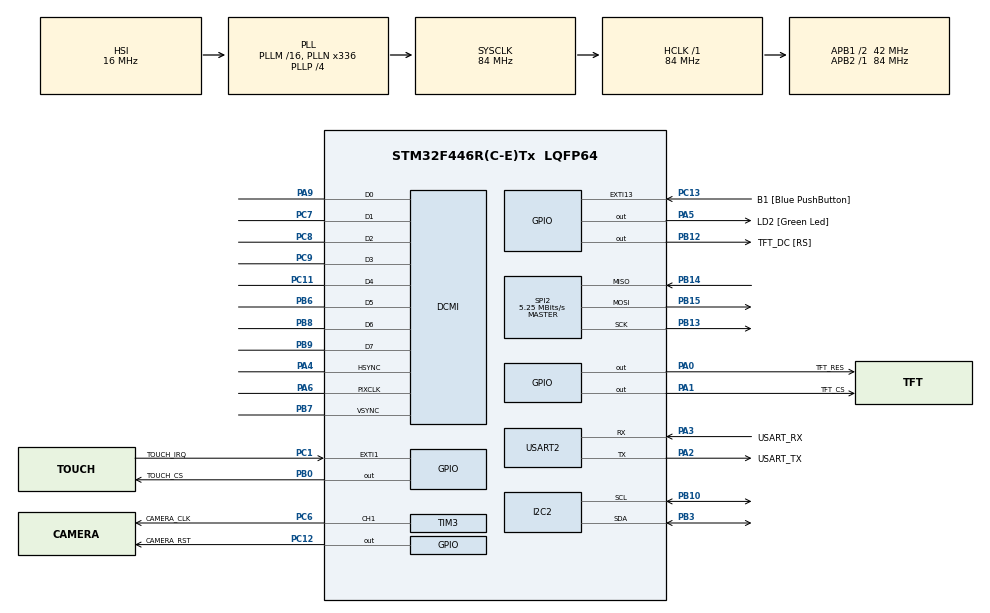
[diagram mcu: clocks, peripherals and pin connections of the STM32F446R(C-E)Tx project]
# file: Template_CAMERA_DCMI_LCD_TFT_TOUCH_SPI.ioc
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DCMI.HSPolarity=DCMI_HSPOLARITY_LOW
DCMI.JPEGMode=DCMI_JPEG_DISABLE
DCMI.PCKPolarity=DCMI_PCKPOLARITY_RISING
DCMI.VSPolarity=DCMI_VSPOLARITY_HIGH
Dma.DCMI.0.Direction=DMA_PERIPH_TO_MEMORY
Dma.DCMI.0.FIFOMode=DMA_FIFOMODE_DISABLE
Dma.DCMI.0.Instance=DMA2_Stream1
Dma.DCMI.0.MemDataAlignment=DMA_MDATAALIGN_WORD
Dma.DCMI.0.MemInc=DMA_MINC_ENABLE
Dma.DCMI.0.Mode=DMA_CIRCULAR
Dma.DCMI.0.PeriphDataAlignment=DMA_PDATAALIGN_WORD
Dma.DCMI.0.PeriphInc=DMA_PINC_DISABLE
Dma.DCMI.0.Priority=DMA_PRIORITY_LOW
Dma.Request0=DCMI
I2C2.I2C_Mode=I2C_Fast
Mcu.Family=STM32F4
Mcu.Name=STM32F446R(C-E)Tx
Mcu.Package=LQFP64
NVIC.DCMI_IRQn=true\:0\:0\:false\:false\:true\:true\:true\:true
NVIC.DMA2_Stream1_IRQn=true\:0\:0\:false\:false\:true\:false\:true\:true
NVIC.PriorityGroup=NVIC_PRIORITYGROUP_0
PA0-WKUP.GPIO_Label=TFT_RES
PA0-WKUP.PinState=GPIO_PIN_RESET
PA0-WKUP.Signal=GPIO_Output
PA1.GPIO_Label=TFT_CS
PA1.GPIO_Speed=GPIO_SPEED_FREQ_HIGH
PA1.PinState=GPIO_PIN_SET
PA1.Signal=GPIO_Output
PA13.GPIO_Label=TMS
PA13.Mode=Serial_Wire
PA13.Signal=SYS_JTMS-SWDIO
PA14.GPIO_Label=TCK
PA14.Mode=Serial_Wire
PA14.Signal=SYS_JTCK-SWCLK
PA2.GPIO_Label=USART_TX
PA2.Mode=Asynchronous
PA2.Signal=USART2_TX
PA3.GPIO_Label=USART_RX
PA3.Mode=Asynchronous
PA3.Signal=USART2_RX
PA4.GPIO_PuPd=GPIO_NOPULL
PA4.Mode=Slave_8_bits_External_Synchro
PA4.Signal=DCMI_HSYNC
PA5.GPIO_Label=LD2 [Green Led]
PA5.Signal=GPIO_Output
PA6.GPIO_Mode=GPIO_MODE_AF_PP
PA6.GPIO_PuPd=GPIO_PULLDOWN
PA6.GPIO_Speed=GPIO_SPEED_FREQ_VERY_HIGH
PA6.Mode=Slave_8_bits_External_Synchro
PA6.Signal=DCMI_PIXCLK
PA9.GPIO_Mode=GPIO_MODE_AF_PP
PA9.GPIO_PuPd=GPIO_PULLDOWN
PA9.GPIO_Speed=GPIO_SPEED_FREQ_VERY_HIGH
PA9.Mode=Slave_8_bits_External_Synchro
PA9.Signal=DCMI_D0
PB0.GPIO_Label=TOUCH_CS
PB0.GPIO_Speed=GPIO_SPEED_FREQ_HIGH
PB0.PinState=GPIO_PIN_SET
PB0.Signal=GPIO_Output
PB10.GPIO_Pu=GPIO_PULLUP
PB10.Mode=I2C
PB10.Signal=I2C2_SCL
PB12.GPIO_Label=TFT_DC [RS]
PB12.PinState=GPIO_PIN_SET
PB12.Signal=GPIO_Output
PB13.Mode=Full_Duplex_Master
PB13.Signal=SPI2_SCK
PB14.Mode=Full_Duplex_Master
PB14.Signal=SPI2_MISO
PB15.Mode=Full_Duplex_Master
PB15.Signal=SPI2_MOSI
PB3.GPIO_Pu=GPIO_PULLUP
PB3.Mode=I2C
PB3.Signal=I2C2_SDA
PB6.GPIO_Mode=GPIO_MODE_AF_PP
PB6.GPIO_PuPd=GPIO_PULLDOWN
PB6.GPIO_Speed=GPIO_SPEED_FREQ_VERY_HIGH
PB6.Mode=Slave_8_bits_External_Synchro
PB6.Signal=DCMI_D5
PB7.GPIO_PuPd=GPIO_NOPULL
PB7.Mode=Slave_8_bits_External_Synchro
PB7.Signal=DCMI_VSYNC
PB8.GPIO_Mode=GPIO_MODE_AF_PP
PB8.GPIO_PuPd=GPIO_PULLDOWN
PB8.GPIO_Speed=GPIO_SPEED_FREQ_VERY_HIGH
PB8.Mode=Slave_8_bits_External_Synchro
PB8.Signal=DCMI_D6
PB9.GPIO_Mode=GPIO_MODE_AF_PP
PB9.GPIO_PuPd=GPIO_PULLDOWN
PB9.GPIO_Speed=GPIO_SPEED_FREQ_VERY_HIGH
PB9.Mode=Slave_8_bits_External_Synchro
PB9.Signal=DCMI_D7
PC1.GPIO_Label=TOUCH_IRQ
PC1.Signal=GPXTI1
PC11.GPIO_Mode=GPIO_MODE_AF_PP
PC11.GPIO_PuPd=GPIO_PULLDOWN
PC11.GPIO_Speed=GPIO_SPEED_FREQ_VERY_HIGH
PC11.Mode=Slave_8_bits_External_Synchro
PC11.Signal=DCMI_D4
PC12.GPIO_Label=CAMERA_RST
PC12.Signal=GPIO_Output
PC13.GPIO_Label=B1 [Blue PushButton]
PC13.GPIO_ModeDefaultEXTI=GPIO_MODE_IT_FALLING
PC13.Signal=GPXTI13
PC14-OSC32_IN.Mode=LSE-External-Oscillator
PC14-OSC32_IN.Signal=RCC_OSC32_IN
PC15-OSC32_OUT.Mode=LSE-External-Oscillator
PC15-OSC32_OUT.Signal=RCC_OSC32_OUT
PC6.GPIO_Label=CAMERA_CLK
PC6.GPIO_Speed=GPIO_SPEED_FREQ_HIGH
PC6.Signal=S_TIM3_CH1
PC7.GPIO_Mode=GPIO_MODE_AF_PP
PC7.GPIO_PuPd=GPIO_PULLDOWN
PC7.GPIO_Speed=GPIO_SPEED_FREQ_VERY_HIGH
PC7.Mode=Slave_8_bits_External_Synchro
PC7.Signal=DCMI_D1
PC8.GPIO_Mode=GPIO_MODE_AF_PP
PC8.GPIO_PuPd=GPIO_PULLDOWN
PC8.GPIO_Speed=GPIO_SPEED_FREQ_VERY_HIGH
PC8.Mode=Slave_8_bits_External_Synchro
PC8.Signal=DCMI_D2
PC9.GPIO_Mode=GPIO_MODE_AF_PP
PC9.GPIO_PuPd=GPIO_PULLDOWN
PC9.GPIO_Speed=GPIO_SPEED_FREQ_VERY_HIGH
PC9.Mode=Slave_8_bits_External_Synchro
PC9.Signal=DCMI_D3
PH0-OSC_IN.Mode=HSE-External-Oscillator
PH0-OSC_IN.Signal=RCC_OSC_IN
PH1-OSC_OUT.Mode=HSE-External-Oscillator
PH1-OSC_OUT.Signal=RCC_OSC_OUT
ProjectManager.HeapSize=0x200
ProjectManager.StackSize=0x400
ProjectManager.TargetToolchain=STM32CubeIDE
RCC.48MHZClocksFreq_Value=84000000
RCC.AHBFreq_Value=84000000
RCC.APB1CLKDivider=RCC_HCLK_DIV2
RCC.APB1Freq_Value=42000000
RCC.APB1TimFreq_Value=84000000
RCC.APB2Freq_Value=84000000
RCC.APB2TimFreq_Value=84000000
RCC.CortexFreq_Value=84000000
RCC.FLatency-AdvancedSettings=FLASH_LATENCY_2
RCC.HCLKFreq_Value=84000000
RCC.HSE_VALUE=8000000
RCC.HSI_VALUE=16000000
RCC.PLLN=336
RCC.PLLP=RCC_PLLP_DIV4
RCC.SYSCLKFreq_VALUE=84000000
RCC.SYSCLKSource=RCC_SYSCLKSOURCE_PLLCLK
RCC.USBFreq_Value=168000000
RCC.VCOOutputFreq_Value=336000000
SH.S_TIM3_CH1.0=TIM3_CH1,PWM Generation1 CH1
SPI2.BaudRatePrescaler=SPI_BAUDRATEPRESCALER_8
SPI2.CalculateBaudRate=5.25 MBits/s
SPI2.Direction=SPI_DIRECTION_2LINES
SPI2.Mode=SPI_MODE_MASTER
SPI2.VirtualType=VM_MASTER
TIM3.Channel-PWM\ Generation1\ CH1=TIM_CHANNEL_1
TIM3.Period=3
USART2.VirtualMode=VM_ASYNC
VP_TIM3_VS_ClockSourceINT.Mode=Internal
board=NUCLEO-F446RE

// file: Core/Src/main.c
/* USER CODE BEGIN Header */
/**
  ******************************************************************************
  * @file           : main.c
  * @brief          : Main program body
  ******************************************************************************
  * @attention
  *
  * Copyright (c) 2026 STMicroelectronics.
  * All rights reserved.
  *
  * This software is licensed under terms that can be found in the LICENSE file
  * in the root directory of this software component.
  * If no LICENSE file comes with this software, it is provided AS-IS.
  *
  ******************************************************************************
  * @date 07/07/2026
  * @details Este projeto visa ler uma câmera OV7670 e enviar os frames para o
  * display TFT via SPI.
  * Vou aproveitar a biblioteca usada para configurar a câmera no modo raiz.
  * Testado apenas para formato RGB 565 (16 bits por pixel).
  ******************************************************************************
  */
/* USER CODE END Header */
#include "main.h"

/* USER CODE BEGIN Includes */
#include <stdbool.h>
#include <string.h>
#include <stdarg.h>
#include <stdio.h>	//sprintf
#include "touch_spi.h"
#include "tft_spi_dual_driver.h"
#include "fonts.h"
#include "Camera_OV7670.h"
/* USER CODE END Includes */

/* USER CODE BEGIN PD */

/* Verifique/ajuste os defines abaixo no arquivo Camera_OV7670.h
 * #define RGB
 * #define W320H240
 */

/* Nota
 * RAM no STM32F446
 * STM32F446 possui 128 KB de RAM total do sistema, dividida em blocos:
 * SRAM1: 112 KB (Endereço 0x2000 0000)
 * SRAM2: 16 KB (Endereço 0x2001 C000)
 * O buffer precisa ser menor que 112 KB, para não ocupar a SRAM1 inteira.
 */
#ifdef W320H240
	//Habilite o define abaixo para usar p recurso de corte (CROP) do DCMI
	#define CROP
	#ifdef CROP
		//O valor CAPCNT só pode ser um múltiplo de 4
		//(os dois bits menos significativos são forçados a 0)
		//para permitir a transferência correta de dados
		//através do DMA.
		#define CAM_W 200
		#define CAM_H 200
		#define X0 (320 - CAM_W) / 2
		#define Y0 (240 - CAM_H) / 2
		#define BUFFER_SIZE_PIXELS  CAM_W * CAM_H
	#else
		//Não há memória suficiente para armazenar um frame completo
		//Neste caso, o frame é dividido em duas partes de 320x120
		//Aqui o recurso de CROP também é usado, mas são duas capturas por frame
		#define CAM_W 320
		#define CAM_H 120
		#define X0 0
		#define Y0 0
		#define BUFFER_SIZE_PIXELS  38400 	//120 linhas com 320 pixel cada
	#endif
#else
	#define CAM_W 160
	#define CAM_H 120
	#define X0 80
	#define Y0 60
	#define BUFFER_SIZE_PIXELS  CAM_W * CAM_H
#endif

/* USER CODE END PD */

DCMI_HandleTypeDef hdcmi;
DMA_HandleTypeDef hdma_dcmi;

I2C_HandleTypeDef hi2c2;

SPI_HandleTypeDef hspi2;

TIM_HandleTypeDef htim3;

UART_HandleTypeDef huart2;

/* USER CODE BEGIN PV */

//Imagem BMP convertidas para RGB565
extern const unsigned short eletriciade_200x151[30200];

//Frame buffer para captura da câmera
volatile uint16_t cam_fb[BUFFER_SIZE_PIXELS]; //Também funciona

//Flag e contadores de interrupções do periférico DCMI
volatile bool frame_ready = false;
volatile bool half_frame_ready = false;
volatile uint32_t vsync_cnt = 0;
volatile uint32_t frame_cnt = 0;
volatile uint32_t line_cnt = 0;
volatile uint32_t err_cnt = 0;
uint8_t DCMI_estado = 0;
uint32_t frame_time = 0;
/* USER CODE END PV */

void SystemClock_Config(void);
static void MX_GPIO_Init(void);
static void MX_DMA_Init(void);
static void MX_DCMI_Init(void);
static void MX_USART2_UART_Init(void);
static void MX_I2C2_Init(void);
static void MX_SPI2_Init(void);
static void MX_TIM3_Init(void);
/* USER CODE BEGIN PFP */
void tft_loop(void);
void touch_loop(void);
void tft_touch_testeToque(void);
void tft_testeDriver(void);
void tft_testeWindow(void);
void camera_tft_capturaFrameSimples(void);
void camera_tft_capturaFrameDuplo(void);
void Meu_DCMI_DMA_HalfCallback(DMA_HandleTypeDef *hdma);
/* USER CODE END PFP */

/* USER CODE BEGIN 0 */
void init()
{
	//Atenção: neste exemplo o display TFT e o touch screen compartilham
	//a mesma porta SPI (SPI3: CLK-Arduino D3, MISO-Ard. D5 e MOSI-Ard. D4).
	//É recomendado que o clock do touch seja menor do que 1 MHz, porque ele
	//é usado para o CAD do chip controlador do touch XPT2046.
	//Isso implica na velocidade máxima do clock para o display.
	//Caso o touch não seja usado, o clock da interface SPI pode ser aumentado
	//até 10 MHz para escrita e 6,7 MHz para leitura considerando o driver
	//de LCD TFT ILI9341.
	//SPI prescaler = 4 -> 10,5 MHz e 64 -> 656,25 kHz

	tft_unselect();				//Desativa CS do TFT
	touch_unselect();			//Desativa CS do touch
	tft_init();					//Inicializa o display TFT
}
/* USER CODE END 0 */

int main(void)
{

  /* USER CODE BEGIN 1 */
	int32_t i;
  /* USER CODE END 1 */

  /* MCU Configuration--------------------------------------------------------*/

  /* Reset of all peripherals, Initializes the Flash interface and the Systick. */
  HAL_Init();

  /* Configure the system clock */
  SystemClock_Config();

  /* Initialize all configured peripherals */
  MX_GPIO_Init();
  MX_DMA_Init();
  MX_DCMI_Init();
  MX_USART2_UART_Init();
  MX_I2C2_Init();
  MX_SPI2_Init();
  MX_TIM3_Init();
  /* USER CODE BEGIN 2 */
  HAL_Delay(1000);
  //Inicializa do TFT e o touch
  init();

//  while(HAL_GPIO_ReadPin(B1_GPIO_Port, B1_Pin));
//  HAL_Delay(2000);
//  tft_fillScreen(TFT_BLUE);
//  tft_printNewStr(30, WHITE, &mono12x7, 1, "BLUE");
//  HAL_Delay(500);
//  tft_drawImage(20,100,200,151,eletriciade_200x151);
//  HAL_Delay(2000);
//  tft_testeDriver();

  //Orientação paisagem
  tft_setRotation(90);
  tft_fillScreen(BLACK);
  //Plota molduras no LCD
  for(i=0; i<8; i++)
  {	  	  	  	 //x     y     w               h               color
	  tft_drawRect(i*20, i*15, 320-(2*(i*20)), 240-(2*(i*15)), WHITE);
	  HAL_Delay(100);
  }

  //Mensagem inicial
  HAL_UART_Transmit(&huart2, (uint8_t *)"Este programa recebe os pixels de uma camera OV7670 conectada\r\n", 66, 100);
  HAL_UART_Transmit(&huart2, (uint8_t *)"via periférico DCMI e envia via SPI para display LCD TFT\r\n", 66, 100);

  //Verifica o estado do DCMI (apenas para teste)
  DCMI_estado = HAL_DCMI_GetState (&hdcmi);

  //Liga o PWM (clock da câmera)
  HAL_TIM_PWM_Start(&htim3, TIM_CHANNEL_1);
  htim3.Instance->CCR1 = 2;

  //Reset da câmera
  HAL_GPIO_WritePin(CAMERA_RST_GPIO_Port, CAMERA_RST_Pin, GPIO_PIN_RESET);
  HAL_Delay(100);
  HAL_GPIO_WritePin(CAMERA_RST_GPIO_Port, CAMERA_RST_Pin, GPIO_PIN_SET);
  HAL_Delay(100);

  //Configura a câmera OV7670 para uso com periférico DCMI
  cam_setup_DCMI(&hi2c2, &huart2);

  //Ajusta o tamanho da tela com CROP
#ifdef W320H240
  /* Nota
   * RGB565, cada pixel ocupa 2 bytes.
   * O hardware do DCMI do STM32F446 possui um registrador interno que lida com
   * pixels de 8 ou 10 bits por ciclo de clock (MCLK).
   * Se a sua câmera envia RGB565 em 2 ciclos de clock de 8 bits
   * (Pixel = Byte 1 + Byte 2), os parâmetros da função HAL_DCMI_ConfigCrop
   * devem considerar o número de capturas de dados da interface (bytes) e
   * não o número final de pixels na horizontal.
   * Como corrigir: alterar a largura do crop na função multiplicando por 2,
   * pois o DCMI precisa "contar" dois bytes por pixel horizontal
   * Utilizar W-1 e H-1
   */
  HAL_DCMI_ConfigCrop(&hdcmi, X0, Y0, (CAM_W * 2) - 1, CAM_H - 1);
  HAL_DCMI_EnableCrop(&hdcmi);
  //Vincula a interrupção de Metade de Transferência do DMA à sua função
  hdcmi.DMA_Handle->XferHalfCpltCallback = Meu_DCMI_DMA_HalfCallback;
#endif

  //Habilita interrupções DCMI
  __HAL_DCMI_ENABLE_IT(&hdcmi, DCMI_IT_FRAME | DCMI_IT_ERR);// | DCMI_IT_VSYNC | DCMI_IT_LINE);
  /* USER CODE END 2 */

  /* Infinite loop */
  while (1)
  {

    /* USER CODE BEGIN 3 */

	  //Escolha o teste desejado
//	  tft_loop();
//	  touch_loop();
//	  colors_loop();
//	  tft_touch_testeToque();	//Fica em looping infinito
//	  tft_testeWindow();

	  //Captura de frames da câmera e envio para o display
#if !defined(W320H240) || defined(CROP)
	  camera_tft_capturaFrameSimples();
#else
	  camera_tft_capturaFrameDuplo();
#endif
  }
  /* USER CODE END 3 */
}

void SystemClock_Config(void)
{
  RCC_OscInitTypeDef RCC_OscInitStruct = {0};
  RCC_ClkInitTypeDef RCC_ClkInitStruct = {0};

  /** Configure the main internal regulator output voltage
  */
  __HAL_RCC_PWR_CLK_ENABLE();
  __HAL_PWR_VOLTAGESCALING_CONFIG(PWR_REGULATOR_VOLTAGE_SCALE3);

  /** Initializes the RCC Oscillators according to the specified parameters
  * in the RCC_OscInitTypeDef structure.
  */
  RCC_OscInitStruct.OscillatorType = RCC_OSCILLATORTYPE_HSI;
  RCC_OscInitStruct.HSIState = RCC_HSI_ON;
  RCC_OscInitStruct.HSICalibrationValue = RCC_HSICALIBRATION_DEFAULT;
  RCC_OscInitStruct.PLL.PLLState = RCC_PLL_ON;
  RCC_OscInitStruct.PLL.PLLSource = RCC_PLLSOURCE_HSI;
  RCC_OscInitStruct.PLL.PLLM = 16;
  RCC_OscInitStruct.PLL.PLLN = 336;
  RCC_OscInitStruct.PLL.PLLP = RCC_PLLP_DIV4;
  RCC_OscInitStruct.PLL.PLLQ = 2;
  RCC_OscInitStruct.PLL.PLLR = 2;
  if (HAL_RCC_OscConfig(&RCC_OscInitStruct) != HAL_OK)
  {
    Error_Handler();
  }

  /** Initializes the CPU, AHB and APB buses clocks
  */
  RCC_ClkInitStruct.ClockType = RCC_CLOCKTYPE_HCLK|RCC_CLOCKTYPE_SYSCLK
                              |RCC_CLOCKTYPE_PCLK1|RCC_CLOCKTYPE_PCLK2;
  RCC_ClkInitStruct.SYSCLKSource = RCC_SYSCLKSOURCE_PLLCLK;
  RCC_ClkInitStruct.AHBCLKDivider = RCC_SYSCLK_DIV1;
  RCC_ClkInitStruct.APB1CLKDivider = RCC_HCLK_DIV2;
  RCC_ClkInitStruct.APB2CLKDivider = RCC_HCLK_DIV1;

  if (HAL_RCC_ClockConfig(&RCC_ClkInitStruct, FLASH_LATENCY_2) != HAL_OK)
  {
    Error_Handler();
  }
}

static void MX_DCMI_Init(void)
{

  hdcmi.Instance = DCMI;
  hdcmi.Init.SynchroMode = DCMI_SYNCHRO_HARDWARE;
  hdcmi.Init.PCKPolarity = DCMI_PCKPOLARITY_RISING;
  hdcmi.Init.VSPolarity = DCMI_VSPOLARITY_HIGH;
  hdcmi.Init.HSPolarity = DCMI_HSPOLARITY_LOW;
  hdcmi.Init.CaptureRate = DCMI_CR_ALL_FRAME;
  hdcmi.Init.ExtendedDataMode = DCMI_EXTEND_DATA_8B;
  hdcmi.Init.JPEGMode = DCMI_JPEG_DISABLE;
  hdcmi.Init.ByteSelectMode = DCMI_BSM_ALL;
  hdcmi.Init.ByteSelectStart = DCMI_OEBS_ODD;
  hdcmi.Init.LineSelectMode = DCMI_LSM_ALL;
  hdcmi.Init.LineSelectStart = DCMI_OELS_ODD;
  if (HAL_DCMI_Init(&hdcmi) != HAL_OK)
  {
    Error_Handler();
  }

}

static void MX_I2C2_Init(void)
{

  hi2c2.Instance = I2C2;
  hi2c2.Init.ClockSpeed = 400000;
  hi2c2.Init.DutyCycle = I2C_DUTYCYCLE_2;
  hi2c2.Init.OwnAddress1 = 0;
  hi2c2.Init.AddressingMode = I2C_ADDRESSINGMODE_7BIT;
  hi2c2.Init.DualAddressMode = I2C_DUALADDRESS_DISABLE;
  hi2c2.Init.OwnAddress2 = 0;
  hi2c2.Init.GeneralCallMode = I2C_GENERALCALL_DISABLE;
  hi2c2.Init.NoStretchMode = I2C_NOSTRETCH_DISABLE;
  if (HAL_I2C_Init(&hi2c2) != HAL_OK)
  {
    Error_Handler();
  }

}

static void MX_SPI2_Init(void)
{

  /* SPI2 parameter configuration*/
  hspi2.Instance = SPI2;
  hspi2.Init.Mode = SPI_MODE_MASTER;
  hspi2.Init.Direction = SPI_DIRECTION_2LINES;
  hspi2.Init.DataSize = SPI_DATASIZE_8BIT;
  hspi2.Init.CLKPolarity = SPI_POLARITY_LOW;
  hspi2.Init.CLKPhase = SPI_PHASE_1EDGE;
  hspi2.Init.NSS = SPI_NSS_SOFT;
  hspi2.Init.BaudRatePrescaler = SPI_BAUDRATEPRESCALER_8;
  hspi2.Init.FirstBit = SPI_FIRSTBIT_MSB;
  hspi2.Init.TIMode = SPI_TIMODE_DISABLE;
  hspi2.Init.CRCCalculation = SPI_CRCCALCULATION_DISABLE;
  hspi2.Init.CRCPolynomial = 10;
  if (HAL_SPI_Init(&hspi2) != HAL_OK)
  {
    Error_Handler();
  }

}

static void MX_TIM3_Init(void)
{

  TIM_ClockConfigTypeDef sClockSourceConfig = {0};
  TIM_MasterConfigTypeDef sMasterConfig = {0};
  TIM_OC_InitTypeDef sConfigOC = {0};

  htim3.Instance = TIM3;
  htim3.Init.Prescaler = 0;
  htim3.Init.CounterMode = TIM_COUNTERMODE_UP;
  htim3.Init.Period = 3;
  htim3.Init.ClockDivision = TIM_CLOCKDIVISION_DIV1;
  htim3.Init.AutoReloadPreload = TIM_AUTORELOAD_PRELOAD_DISABLE;
  if (HAL_TIM_Base_Init(&htim3) != HAL_OK)
  {
    Error_Handler();
  }
  sClockSourceConfig.ClockSource = TIM_CLOCKSOURCE_INTERNAL;
  if (HAL_TIM_ConfigClockSource(&htim3, &sClockSourceConfig) != HAL_OK)
  {
    Error_Handler();
  }
  if (HAL_TIM_PWM_Init(&htim3) != HAL_OK)
  {
    Error_Handler();
  }
  sMasterConfig.MasterOutputTrigger = TIM_TRGO_RESET;
  sMasterConfig.MasterSlaveMode = TIM_MASTERSLAVEMODE_DISABLE;
  if (HAL_TIMEx_MasterConfigSynchronization(&htim3, &sMasterConfig) != HAL_OK)
  {
    Error_Handler();
  }
  sConfigOC.OCMode = TIM_OCMODE_PWM1;
  sConfigOC.Pulse = 0;
  sConfigOC.OCPolarity = TIM_OCPOLARITY_HIGH;
  sConfigOC.OCFastMode = TIM_OCFAST_DISABLE;
  if (HAL_TIM_PWM_ConfigChannel(&htim3, &sConfigOC, TIM_CHANNEL_1) != HAL_OK)
  {
    Error_Handler();
  }
  HAL_TIM_MspPostInit(&htim3);

}

static void MX_USART2_UART_Init(void)
{

  huart2.Instance = USART2;
  huart2.Init.BaudRate = 115200;
  huart2.Init.WordLength = UART_WORDLENGTH_8B;
  huart2.Init.StopBits = UART_STOPBITS_1;
  huart2.Init.Parity = UART_PARITY_NONE;
  huart2.Init.Mode = UART_MODE_TX_RX;
  huart2.Init.HwFlowCtl = UART_HWCONTROL_NONE;
  huart2.Init.OverSampling = UART_OVERSAMPLING_16;
  if (HAL_UART_Init(&huart2) != HAL_OK)
  {
    Error_Handler();
  }

}

static void MX_DMA_Init(void)
{

  /* DMA controller clock enable */
  __HAL_RCC_DMA2_CLK_ENABLE();

  /* DMA interrupt init */
  /* DMA2_Stream1_IRQn interrupt configuration */
  HAL_NVIC_SetPriority(DMA2_Stream1_IRQn, 0, 0);
  HAL_NVIC_EnableIRQ(DMA2_Stream1_IRQn);

}

static void MX_GPIO_Init(void)
{
  GPIO_InitTypeDef GPIO_InitStruct = {0};

  /* GPIO Ports Clock Enable */
  __HAL_RCC_GPIOC_CLK_ENABLE();
  __HAL_RCC_GPIOH_CLK_ENABLE();
  __HAL_RCC_GPIOA_CLK_ENABLE();
  __HAL_RCC_GPIOB_CLK_ENABLE();

  /*Configure GPIO pin Output Level */
  HAL_GPIO_WritePin(GPIOA, TFT_RES_Pin|LD2_Pin, GPIO_PIN_RESET);

  /*Configure GPIO pin Output Level */
  HAL_GPIO_WritePin(TFT_CS_GPIO_Port, TFT_CS_Pin, GPIO_PIN_SET);

  /*Configure GPIO pin Output Level */
  HAL_GPIO_WritePin(GPIOB, TOUCH_CS_Pin|TFT_DC_Pin, GPIO_PIN_SET);

  /*Configure GPIO pin Output Level */
  HAL_GPIO_WritePin(CAMERA_RST_GPIO_Port, CAMERA_RST_Pin, GPIO_PIN_RESET);

  /*Configure GPIO pin : B1_Pin */
  GPIO_InitStruct.Pin = B1_Pin;
  GPIO_InitStruct.Mode = GPIO_MODE_IT_FALLING;
  GPIO_InitStruct.Pull = GPIO_NOPULL;
  HAL_GPIO_Init(B1_GPIO_Port, &GPIO_InitStruct);

  /*Configure GPIO pin : TOUCH_IRQ_Pin */
  GPIO_InitStruct.Pin = TOUCH_IRQ_Pin;
  GPIO_InitStruct.Mode = GPIO_MODE_IT_RISING;
  GPIO_InitStruct.Pull = GPIO_NOPULL;
  HAL_GPIO_Init(TOUCH_IRQ_GPIO_Port, &GPIO_InitStruct);

  /*Configure GPIO pins : TFT_RES_Pin LD2_Pin */
  GPIO_InitStruct.Pin = TFT_RES_Pin|LD2_Pin;
  GPIO_InitStruct.Mode = GPIO_MODE_OUTPUT_PP;
  GPIO_InitStruct.Pull = GPIO_NOPULL;
  GPIO_InitStruct.Speed = GPIO_SPEED_FREQ_LOW;
  HAL_GPIO_Init(GPIOA, &GPIO_InitStruct);

  /*Configure GPIO pin : TFT_CS_Pin */
  GPIO_InitStruct.Pin = TFT_CS_Pin;
  GPIO_InitStruct.Mode = GPIO_MODE_OUTPUT_PP;
  GPIO_InitStruct.Pull = GPIO_NOPULL;
  GPIO_InitStruct.Speed = GPIO_SPEED_FREQ_HIGH;
  HAL_GPIO_Init(TFT_CS_GPIO_Port, &GPIO_InitStruct);

  /*Configure GPIO pin : TOUCH_CS_Pin */
  GPIO_InitStruct.Pin = TOUCH_CS_Pin;
  GPIO_InitStruct.Mode = GPIO_MODE_OUTPUT_PP;
  GPIO_InitStruct.Pull = GPIO_NOPULL;
  GPIO_InitStruct.Speed = GPIO_SPEED_FREQ_HIGH;
  HAL_GPIO_Init(TOUCH_CS_GPIO_Port, &GPIO_InitStruct);

  /*Configure GPIO pin : TFT_DC_Pin */
  GPIO_InitStruct.Pin = TFT_DC_Pin;
  GPIO_InitStruct.Mode = GPIO_MODE_OUTPUT_PP;
  GPIO_InitStruct.Pull = GPIO_NOPULL;
  GPIO_InitStruct.Speed = GPIO_SPEED_FREQ_LOW;
  HAL_GPIO_Init(TFT_DC_GPIO_Port, &GPIO_InitStruct);

  /*Configure GPIO pin : CAMERA_RST_Pin */
  GPIO_InitStruct.Pin = CAMERA_RST_Pin;
  GPIO_InitStruct.Mode = GPIO_MODE_OUTPUT_PP;
  GPIO_InitStruct.Pull = GPIO_NOPULL;
  GPIO_InitStruct.Speed = GPIO_SPEED_FREQ_LOW;
  HAL_GPIO_Init(CAMERA_RST_GPIO_Port, &GPIO_InitStruct);

}

/* USER CODE BEGIN 4 */
static void tft_delay(uint32_t ms)
{
    HAL_Delay(ms);
}

void tft_loop(void)
{
	//Check border
	tft_fillScreen(TFT_BLACK);

	for(int x = 0; x < TFT_WIDTH; x++)
	{
		tft_drawPixel(x, 0, TFT_RED);
		tft_drawPixel(x, TFT_HEIGHT-1, TFT_RED);
	}

	for(int y = 0; y < TFT_HEIGHT; y++)
	{
		tft_drawPixel(0, y, TFT_RED);
		tft_drawPixel(TFT_WIDTH-1, y, TFT_RED);
	}

	HAL_Delay(1000);

	//Check font
	tft_fillScreen(TFT_BLACK);
	tft_printNewStr(20, TFT_RED, &mono12x7, 1, "Oi mundo!");
	tft_printNewStr(40, TFT_GREEN, &mono12x7, 1, "Oi mundo!");
	tft_printNewStr(60, TFT_BLUE, &mono12x7, 1, "Oi mundo!");

	HAL_Delay(1000);
	tft_invertDisplay(true);
	HAL_Delay(1000);
	tft_invertDisplay(false);

	HAL_Delay(2000);

	//Check colors
	tft_fillScreen(TFT_WHITE);
	tft_printNewStr(20, TFT_RED, &mono12x7, 1, "WHITE");
	HAL_Delay(500);

	tft_fillScreen(TFT_BLUE);
	tft_printNewStr(20, TFT_WHITE, &mono12x7, 1, "BLUE");
	HAL_Delay(500);

	tft_fillScreen(TFT_RED);
	tft_printNewStr(20, TFT_WHITE, &mono12x7, 1, "RED");
	HAL_Delay(500);

	tft_fillScreen(TFT_GREEN);
	tft_printNewStr(20, TFT_WHITE, &mono12x7, 1, "GREEN");
	HAL_Delay(500);

	tft_fillScreen(TFT_CYAN);
	tft_printNewStr(20, TFT_BLACK, &mono12x7, 1, "CYAN");
	HAL_Delay(500);

	tft_fillScreen(TFT_MAGENTA);
	tft_printNewStr(20, TFT_BLACK, &mono12x7, 1, "MAGENTA");
	HAL_Delay(500);

	tft_fillScreen(TFT_YELLOW);
	tft_printNewStr(20, TFT_BLACK, &mono12x7, 1, "YELLOW");
	HAL_Delay(500);

	tft_fillScreen(TFT_BLACK);
	tft_printNewStr(20, TFT_WHITE, &mono12x7, 1, "BLACK");
	HAL_Delay(500);

	tft_drawImage(0,0,200,151,eletriciade_200x151);
	HAL_Delay(2000);
}

void touch_loop(void)
{
  uint16_t x, y, xm, xM, ym, yM;
  char str[50];
  uint16_t size;

  if(touch_getCoordinates(&x, &y))
//  if(touch_getRawCoordinates(&x, &y))	//Usar para calibração
  {
  	size = sprintf(str, "x: %i     ", x);
  	HAL_UART_Transmit(&huart2, str, size, 100);

  	size = sprintf(str, "y: %i\r\n", y);
  	HAL_UART_Transmit(&huart2, str, size, 100);

  	//Usar para calibração
//  	touch_getRawMinMaxCoordenadtes(&xm, &xM, &ym, &yM);
//  	size = sprintf(str, "xm: %i\txM: %i\t ym: %i\t yM: %i\r\n", xm, xM, ym, yM);
//  	HAL_UART_Transmit(&huart2, str, size, 100);
  }
  else
  {
  	HAL_UART_Transmit(&huart2, "Not pressed\r\n", 13, 100);
  }

  HAL_Delay(250);
}

void tft_touch_testeToque(void)
{
	uint16_t x, y;
	char str[50];
	uint16_t size;

	tft_setRotation(0);
	tft_fillScreen(TFT_WHITE);
	tft_setFont(&mono12x7bold);
	tft_setTextBackColor(TFT_WHITE);
	tft_setTextColor(TFT_BLACK);

	while(1)
	{
		if(touch_getCoordinates(&x, &y))
		{
			//Como as coordenas do touch crescem da esquerda para direita,
			//de baixo para cima, as coordenadas y devem ser invertidas para
			//se adequarem a orientação do eixo y do display
			y = 320 - y;
			tft_drawCircle(x, y, 4, TFT_RED);
			tft_setCursor(15, 15);
			size = sprintf(str, "X = %i\t Y = %i    ", x, y);
			tft_printStr_bc(str);
		}
		HAL_Delay(250);
	}
}

void tft_testeDriver(void)
{
    uint16_t w = 0;
    uint16_t h = 0;

    //Funções de teste do LCD (tirar para teste do touch)
    tft_testfillScreen();
    tft_testLines(CYAN);
    tft_testFastLines(RED, BLUE);
    tft_testFilledCircles(10, MAGENTA);
    tft_testCircles(10, WHITE);
    tft_fillScreen(BLACK);

    /* Fundo */
    tft_fillScreen(BLACK);
    tft_delay(300);

    /* Identificação visual */
    tft_setCursor(5, 20);
    tft_setTextColor(WHITE);
    tft_setTextBackColor(BLACK);
    tft_setTextSize(1);
    tft_printStr((uint8_t *)"TFT DRIVER TEST");

    tft_setCursor(5, 40);
    tft_setTextColor(CYAN);
    tft_printStr((uint8_t *)"Testing shapes and colors");

    tft_delay(300);

    /* Linhas coloridas em diagonal */
    tft_fillScreen(BLACK);
    for (int16_t i = 0; i < 240; i += 20) {
        tft_drawLine(0, 0, i, 319, RED);
        tft_drawLine(0, 319, i, 0, GREEN);
        tft_drawLine(0, i, 239, 319 - i, BLUE);
        tft_drawLine(239, i, 0, 319 - i, YELLOW);
    }
    tft_delay(600);

    /* Linhas horizontais e verticais */
    tft_fillScreen(BLACK);
    for (int16_t y = 0; y < 320; y += 20) {
        tft_drawFastHLine(0, y, 240, CYAN);
    }
    for (int16_t x = 0; x < 240; x += 20) {
        tft_drawFastVLine(x, 0, 320, MAGENTA);
    }
    tft_delay(600);

    /* Retângulos */
    tft_fillScreen(BLACK);
    for (int16_t i = 0; i < 100; i += 12) {
        tft_drawRect(i, i, 240 - 2 * i, 320 - 2 * i, RED);
        tft_drawRect(i + 2, i + 2, 240 - 2 * i - 4, 320 - 2 * i - 4, GREEN);
        tft_drawRect(i + 4, i + 4, 240 - 2 * i - 8, 320 - 2 * i - 8, BLUE);
    }
    tft_delay(600);

    /* Retângulos preenchidos */
    tft_fillScreen(BLACK);
    tft_fillRect(10, 10, 60, 40, RED);
    tft_fillRect(80, 20, 100, 50, GREEN);
    tft_fillRect(30, 80, 150, 60, BLUE);
    tft_fillRect(60, 160, 120, 80, CYAN);
    tft_fillRect(20, 250, 180, 50, YELLOW);
    tft_delay(600);

    /* Cantos arredondados */
    tft_fillScreen(BLACK);
    tft_drawRoundRect(10, 10, 220, 80, 15, RED);
    tft_drawRoundRect(20, 100, 200, 90, 20, GREEN);
    tft_drawRoundRect(30, 200, 180, 100, 25, BLUE);
    tft_fillRoundRect(35, 215, 170, 70, 18, MAGENTA);
    tft_delay(600);

    /* Círculos */
    tft_fillScreen(BLACK);
    tft_drawCircle(60, 60, 30, RED);
    tft_drawCircle(180, 60, 40, GREEN);
    tft_fillCircle(60, 160, 35, BLUE);
    tft_fillCircle(180, 170, 45, YELLOW);
    tft_drawCircleHelper(120, 250, 35, 0x0F, CYAN);
    tft_fillCircleHelper(120, 250, 25, 0x03, 10, MAGENTA);
    tft_delay(600);

    /* Triângulos */
    tft_fillScreen(BLACK);
    tft_drawTriangle(20, 20, 120, 20, 70, 100, RED);
    tft_drawTriangle(140, 20, 220, 100, 100, 120, GREEN);
    tft_fillTriangle(30, 150, 100, 250, 10, 260, BLUE);
    tft_fillTriangle(140, 150, 220, 250, 180, 300, CYAN);
    tft_delay(600);

    /* Mistura de tudo */
    tft_fillScreen(BLACK);
    tft_drawRect(5, 5, 230, 310, WHITE);
    tft_drawLine(0, 0, 239, 319, RED);
    tft_drawLine(239, 0, 0, 319, GREEN);
    tft_drawCircle(120, 160, 70, BLUE);
    tft_fillCircle(120, 160, 35, YELLOW);
    tft_drawRoundRect(20, 40, 200, 240, 20, CYAN);
    tft_fillTriangle(40, 280, 200, 280, 120, 180, MAGENTA);

    tft_setCursor(10, 290);
    tft_setTextColor(WHITE);
    tft_setTextBackColor(BLACK);
    tft_setTextSize(1);
    tft_printStr((uint8_t *)"END OF TEST");
    tft_delay(1000);
    tft_scrollup(10);
    tft_delay(1000);
    tft_scrolldown(10);
    tft_delay(1000);
    tft_invertDisplay(1);
    tft_setRotation(0);
    tft_fillRect(100, 0, 100, 50, WHITE);
    tft_delay(500);
    tft_setRotation(90);
    tft_fillRect(100, 0, 100, 50, RED);
    tft_delay(500);
    tft_setRotation(180);
    tft_fillRect(100, 0, 100, 50, GREEN);
    tft_delay(500);
    tft_setRotation(270);
    tft_fillRect(100, 0, 100, 50, BLUE);
    tft_delay(500);
    tft_invertDisplay(0);
}

void tft_testeWindow(void)
{
	uint16_t buffer[320 * 20];
	uint16_t incremento = 20;
	uint16_t y_atual = 0;
	uint16_t COR = 0;
	tft_setRotation(90);
	tft_setAddrWindow(0, 0, 319, 239);
	while(1)
	{
		y_atual = 0;

		while(y_atual < 320)
		{
			//Envio de vermelho
			for(int i=0; i<(320 * incremento); i++)
				buffer[i] = COR;// TFT_RED;
			COR += 1000;
			//tft_setAddrWindow(0, y_atual, 319, y_atual+incremento-1);
			y_atual = y_atual + incremento;
			tft_enviaPixels(buffer, 320 * incremento);

			//Envio de verde
			for(int i=0; i<(320 * incremento); i++)
				buffer[i] = COR;// TFT_GREEN;
			COR += 1000;
			//tft_setAddrWindow(0, y_atual, 319, y_atual+incremento-1);
			y_atual = y_atual + incremento;
			tft_enviaPixels(buffer, 320 * incremento);

			//Envio de azul
			for(int i=0; i<(320 * incremento); i++)
				buffer[i] = COR;// TFT_BLUE;
			COR += 1000;
			//tft_setAddrWindow(0, y_atual, 319, y_atual+incremento-1);
			y_atual = y_atual + incremento;
			tft_enviaPixels(buffer, 320 * incremento);
		}
		//break;
	}
	tft_fimDados();
}

/*
 * brief Faz a captura de um frame da câmera e envia para o display
 */
void camera_tft_capturaFrameSimples(void)
{
//	frame_time = HAL_GetTick();	//Medida do tempo de um frame em ticks (teste)

	//Dispara snapshot do DCMI via DMA
	HAL_DCMI_Start_DMA(&hdcmi, DCMI_MODE_SNAPSHOT, (uint32_t)cam_fb, BUFFER_SIZE_PIXELS/2);

	//Opação 1 - Aguarda recepção do frame
//	uint32_t time_out = HAL_GetTick() + 150;
//	while(frame_ready == false)
//	{
//		//Segundo medido para configuração atual, são gastos 75 ms/frame
//		//Isso não depende do tamanho
//		if(HAL_GetTick() > time_out)
//			break;
//		if(err_cnt)
//			break;
//	}
//	//Limpa flag de captura
//	frame_ready = false;
//
////	frame_time = HAL_GetTick() - frame_time;	//Medida do tempo de um frame em ticks (teste)

	//Opção 2 - Aguarda apenas uma tempo mínimo para um possível início de preenchimento
	//do buffer. DMA e SPI competem pelo buffer
	HAL_Delay(10);

	//Sinalização de captura de frame
	tft_fillCircle(X0+10, Y0+10, 4, TFT_RED);

//	frame_time = HAL_GetTick();	//Medida do tempo de um frame em ticks (teste)

	//Envia o frame para o LCD como imagem
	tft_drawImage(X0, Y0, CAM_W, CAM_H, (const uint16_t*) cam_fb);

//	frame_time = HAL_GetTick() - frame_time; //Medida do tempo de um frame em ticks (teste)

//	DCMI_estado = HAL_DCMI_GetError(&hdcmi);	//Verifica erros do DCMI (apenas para teste)
}

void camera_tft_capturaFrameDuplo(void)
{
	//1a metade do frame

	//Ajusta o CROP
	HAL_DCMI_ConfigCrop(&hdcmi, X0, Y0, (CAM_W * 2) - 1, CAM_H - 1);
	//Dispara snapshot do DCMI via DMA
	HAL_DCMI_Start_DMA(&hdcmi, DCMI_MODE_SNAPSHOT, (uint32_t)cam_fb, BUFFER_SIZE_PIXELS/2);

	//Opção 1 - Aguarda recepção de meio frame
	uint32_t time_out = HAL_GetTick() + 150;
	while(half_frame_ready == false)
	{
		//Segundo medido para configuração atual, são gastos 75 ms/frame
		//Isso não depende do tamanho
		if(HAL_GetTick() > time_out)
			break;
		if(err_cnt)
			break;
	}
	//Limpa flag de captura
	half_frame_ready = false;

	//Opção 2 - Aguarda apenas uma tempo mínimo para um possível início de preenchimento
	//do buffer. DMA e SPI competem pelo buffer
	//HAL_Delay(150);

	//Sinalização de captura de frame
	tft_fillCircle(X0+10, Y0+10, 4, TFT_RED);
	//Envia o frame para o LCD como imagem
	tft_drawImage(X0, Y0, CAM_W, CAM_H, (const uint16_t*) cam_fb);

	//2a metade do frame (supondo que a captura da 1a metada já terminou)

	//Ajusta o CROP
	HAL_DCMI_ConfigCrop(&hdcmi, X0, CAM_H, (CAM_W * 2) - 1, (CAM_H * 2) - 1);
	//Dispara snapshot do DCMI via DMA
	HAL_DCMI_Start_DMA(&hdcmi, DCMI_MODE_SNAPSHOT, (uint32_t)cam_fb, BUFFER_SIZE_PIXELS/2);

	//Opção 1 - Aguarda recepção de meio frame
	time_out = HAL_GetTick() + 150;
	while(half_frame_ready == false)
	{
		//Segundo medido para configuração atual, são gastos 75 ms/frame
		//Isso não depende do tamanho
		if(HAL_GetTick() > time_out)
			break;
		if(err_cnt)
			break;
	}
	//Limpa flag de captura
	half_frame_ready = false;

	//Opção 2 - Aguarda apenas uma tempo mínimo para um possível início de preenchimento
	//do buffer. DMA e SPI competem pelo buffer
	HAL_Delay(150);
	//Sinalização de captura de frame
	tft_fillCircle(X0+10, Y0+10, 4, TFT_RED);
	//Envia o frame para o LCD como imagem
	tft_drawImage(X0, CAM_H, CAM_W, CAM_H, (const uint16_t*) cam_fb);
}

void HAL_DCMI_FrameEventCallback(DCMI_HandleTypeDef *hdcmi)
{
//#ifdef W320H240
//    // Ponteiro apontando para a metade do array (Início do Buffer B)
//    uint16_t *pixel_data = (uint16_t *)&cam_fb[0];//[HALF_BUFFER_PIXELS];
//
//    // Transmite as próximas 10 linhas para o LCD
//    //tft_enviaPixels(pixel_data, HALF_BUFFER_PIXELS);
//    tft_drawImageLittleEndian(0, 0, CAM_W, 60, (const uint16_t*) pixel_data);
//#else
    frame_ready = true;
    frame_cnt++;
//#endif
}

void Meu_DCMI_DMA_HalfCallback(DMA_HandleTypeDef *hdma)
{
	//Uso futuro
	half_frame_ready = true;
}

void HAL_DCMI_VsyncEventCallback(DCMI_HandleTypeDef *hdcmi)
//void HAL_DCMI_VsyncCallback(DCMI_HandleTypeDef *hdcmi)
{
	vsync_cnt++;
}

void HAL_DCMI_LineEventCallback(DCMI_HandleTypeDef *hdcmi)
{
    line_cnt++;
}

void HAL_DCMI_ErrorCallback(DCMI_HandleTypeDef *hdcmi)
{
    err_cnt++;

    //Verifica se o erro foi de Overrun
    if (__HAL_DCMI_GET_FLAG(hdcmi, DCMI_FLAG_OVRRI) != RESET)
    {
    	// Limpa a flag de estouro pendente
    	__HAL_DCMI_CLEAR_FLAG(hdcmi, DCMI_FLAG_OVRRI);
    }

    //Força o reset do estado do DCMI para que ele aceite novos comandos
    HAL_DCMI_Stop(hdcmi);
}

/* USER CODE END 4 */

void Error_Handler(void)
{
  __disable_irq();
  while (1)
  {
  }
}
